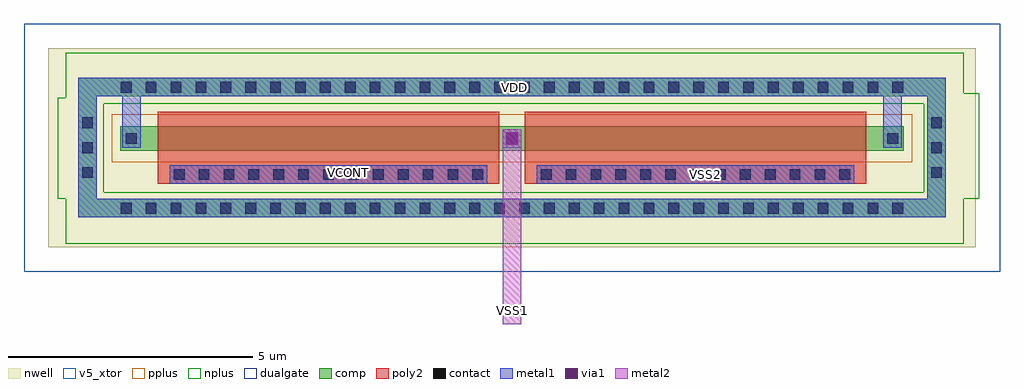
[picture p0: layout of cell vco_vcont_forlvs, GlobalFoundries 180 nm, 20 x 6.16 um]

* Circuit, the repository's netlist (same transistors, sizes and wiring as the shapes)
* Extracted by KLayout with GF180MCU LVS runset on : 09/09/2025 04:59

.SUBCKT vco_vcont_forlvs
M$1 \$4 \$3 \$1 \$1 pfet_05v0 L=7U W=0.5U AS=0.385P AD=0.13P PS=2.54U PD=1.02U
M$2 \$1 \$5 \$4 \$1 pfet_05v0 L=7U W=0.5U AS=0.13P AD=0.385P PS=1.02U PD=2.54U
.ENDS vco_vcont_forlvs

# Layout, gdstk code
import gdstk
lib = gdstk.Library(unit=1e-6, precision=5e-09)
def R(c, l, rs):  # rectangles x0, y0, x1, y1
    for r in rs: c.add(gdstk.rectangle(r[:2], r[2:], *l))
def A(c, l, x, y, w, h, nx, ny, dx, dy):  # array of equal rectangles
    R(c, l, [(x+i*dx, y+j*dy, x+i*dx+w, y+j*dy+h) for i in range(nx) for j in range(ny)])
def P(c, l, *ps):  # polygons
    for p in ps: c.add(gdstk.Polygon(p, *l))
nwell = (21, 0)
comp = (22, 0)
poly2 = (30, 0)
pplus = (31, 0)
nplus = (32, 0)
contact = (33, 0)
metal1 = (34, 0)
via1 = (35, 0)
metal2 = (36, 0)
dualgate = (55, 0)
v5_xtor = (112, 1)

pfet = lib.new_cell('pfet')

pfet_3 = lib.new_cell('pfet$3')
R(pfet_3, nwell, [(-1.93,-1.98,17.07,2.1)])
R(pfet_3, comp, [(-0.46,0,0,0.5), (0,0,15.14,0.5), (15.14,0,15.6,0.5)])
P(pfet_3, comp, [(-1.32,-1.37),(-1.32,1.11),(-0.94,1.11),(-0.94,-0.99),(16.08,-0.99),(16.08,1.11),(-1.32,1.11),(-1.32,1.49),(16.46,1.49),(16.46,-1.37)])
R(pfet_3, poly2, [(0.31,-0.68,7.31,-0.3), (7.83,-0.68,14.83,-0.3), (0.31,-0.3,7.31,0.8), (7.83,-0.3,14.83,0.8)])
R(pfet_3, pplus, [(-0.63,-0.24,15.77,0.74)])
A(pfet_3, contact, -0.445, -1.29, 0.22, 0.22, 32, 2, 0.51, 2.48)
A(pfet_3, contact, 0.64, -0.6, 0.22, 0.22, 13, 1, 0.51, 0)
A(pfet_3, contact, 8.16, -0.6, 0.22, 0.22, 13, 1, 0.51, 0)
A(pfet_3, contact, -1.24, -0.56, 0.22, 0.22, 1, 3, 0, 0.51)
A(pfet_3, contact, 16.16, -0.56, 0.22, 0.22, 1, 3, 0, 0.51)
A(pfet_3, contact, -0.34, 0.14, 0.22, 0.22, 3, 1, 7.8, 0)
A(pfet_3, metal1, -0.42, 0.06, 0.38, 0.38, 3, 1, 7.8, 0)
R(pfet_3, metal1, [(0.56,-0.68,7.06,-0.3), (8.08,-0.68,14.58,-0.3)])
R(pfet_3, dualgate, [(-2.43,-2.48,17.57,2.6), (-1.57,-1.62,16.71,1.74)])
R(pfet_3, v5_xtor, [(-2.43,-2.48,17.57,2.6), (-1.57,-1.62,16.71,1.74)])

vco_vcont_forlvs = lib.new_cell('vco_vcont_forlvs')
R(vco_vcont_forlvs, nplus, [(-2.31,-1.885,16.09,-0.835), (-2.48,-0.97,-1.54,1.105), (15.27,-0.97,16.405,1.195), (-2.31,0.975,16.09,2.025)])
R(vco_vcont_forlvs, metal1, [(-2.06,-1.35,15.72,-0.97), (-2.06,-0.97,-1.68,1.13), (15.34,-0.97,15.72,1.13), (-1.16,0.46,-0.78,1.13), (14.44,0.46,14.82,1.13), (-2.06,1.13,15.72,1.51)])
R(vco_vcont_forlvs, via1, [(6.7,0.14,6.96,0.4)])
R(vco_vcont_forlvs, metal2, [(6.64,-3.54,7.02,0.46)])
vco_vcont_forlvs.add(gdstk.Reference(pfet, (-0.435,0.23)))
vco_vcont_forlvs.add(gdstk.Reference(pfet_3, (-0.74,0.02)))
vco_vcont_forlvs.add(gdstk.Label('VCONT', (3.47,-0.43), layer=34, texttype=0))
vco_vcont_forlvs.add(gdstk.Label('VSS2', (10.8,-0.475), layer=34, texttype=0))
vco_vcont_forlvs.add(gdstk.Label('VDD', (6.875,1.32), layer=34, texttype=0))
vco_vcont_forlvs.add(gdstk.Label('VSS1', (6.85,-3.255), layer=36, texttype=0))

lib.write_gds('vco_vcont_forlvs.gds')
